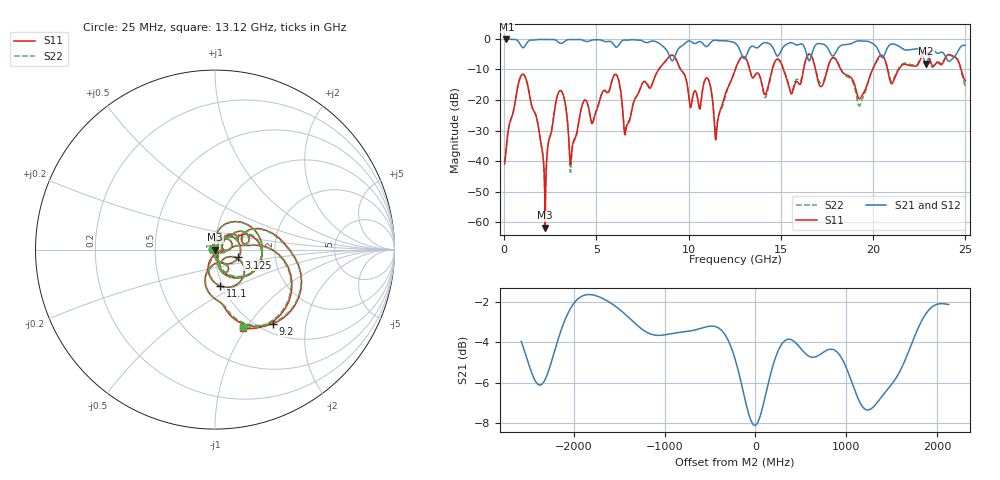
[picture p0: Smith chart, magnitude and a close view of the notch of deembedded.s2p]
! R_s4_rect_cap5: 3D, de-embedded (matched 2x-thru)
# Hz S RI R 50
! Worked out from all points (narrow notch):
!   1000 points, 25 MHz to 25 GHz, reference 50 ohm
!   highest |S21| = -0.07 dB at 125 MHz (marker M1); lowest = -8.1 dB at 22.88 GHz (marker M2)
!   notch at M2: 6.5 dB deep, 433 MHz wide at half that depth
!   lowest |S11| = -61.7 dB at 2.225 GHz (marker M3), VSWR 1.00, Z = 50.1 + j0.00652 ohm
!   |S11| at or under -10 dB: start of sweep to 8.377 GHz; 9.569 GHz to 12.53 GHz (2.957 GHz wide, 26.8 % of centre); 18.24 GHz to 19.97 GHz (1.728 GHz wide, 9.05 % of centre) (the widest 3 of 8)
!   |S22| runs from -54.4 to -4.2 dB; largest |S21 - S12| = 2.2e-06
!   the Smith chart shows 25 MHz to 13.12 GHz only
!   S11 on the Smith chart (normalised r, x): 25 MHz: 0.98, +0.01; 3.125 GHz: 1.30, -0.11; 9.2 GHz: 1.16, -1.31; 11.1 GHz: 0.97, -0.41; 13.12 GHz: 0.87, -0.97
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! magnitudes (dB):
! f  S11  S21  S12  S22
! 25 MHz  -40.9  -0.1  -0.1  -40.1
! 125 MHz  -34.9  -0.1  -0.1  -34.6
! 1.05 GHz  -11.6  -2.8  -2.8  -11.7
! 2.225 GHz  -61.7  -0.2  -0.2  -54.4
! 3.125 GHz  -17.2  -1.5  -1.5  -17.3
! 3.625 GHz  -39.4  -0.2  -0.2  -41.2
! 4.2 GHz  -22.2  -0.3  -0.3  -22.3
! 6.05 GHz  -11.6  -2.7  -2.7  -11.6
! 6.625 GHz  -29.0  -0.4  -0.4  -28.4
! 8.35 GHz  -10.3  -1.3  -1.3  -10.3
! 9.2 GHz  -5.6  -6.6  -6.6  -5.7
! 10.1 GHz  -22.5  -0.8  -0.8  -22.1
! 11.1 GHz  -13.8  -1.9  -1.9  -13.7
! 11.5 GHz  -31.5  -0.5  -0.5  -29.7
! 12.53 GHz  -10.0  -1.4  -1.4  -10.1
! 13.12 GHz  -6.7  -5.5  -5.5  -6.8
! 14.15 GHz  -18.2  -1.2  -1.2  -19.2
! 16.68 GHz  -5.9  -5.0  -5.0  -5.7
! 19.27 GHz  -19.6  -0.6  -0.6  -21.8
! 20.85 GHz  -12.0  -2.2  -2.2  -11.3
! 22.88 GHz  -4.3  -8.1  -8.1  -4.4
! 25 GHz  -13.7  -2.1  -2.1  -15.3
